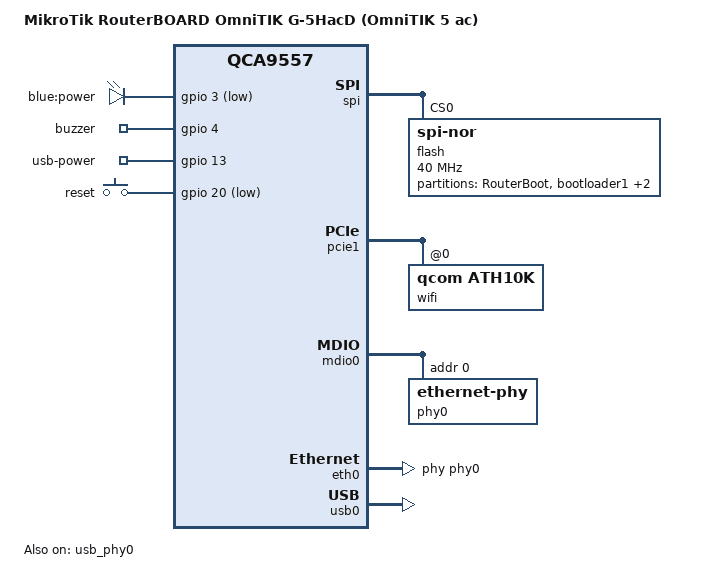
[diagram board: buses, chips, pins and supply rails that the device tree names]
// SPDX-License-Identifier: GPL-2.0-or-later OR MIT

#include "qca955x.dtsi"

#include <dt-bindings/gpio/gpio.h>
#include <dt-bindings/input/input.h>

/ {
	compatible = "mikrotik,routerboard-omnitik-g-5hacd", "qca,qca9557";
	model = "MikroTik RouterBOARD OmniTIK G-5HacD (OmniTIK 5 ac)";

	aliases {
		led-boot = &led_power;
		led-failsafe = &led_power;
		led-upgrade = &led_power;
		serial0 = &uart;
	};

	leds {
		compatible = "gpio-leds";

		led_power: power {
			label = "blue:power";
			gpios = <&gpio 3 GPIO_ACTIVE_LOW>;
			default-state = "on";
		};
	};

	gpio-export {
		compatible = "gpio-export";

		buzzer {
				gpio-export,name = "buzzer";
				gpio-export,output = <0>;
				gpios = <&gpio 4 GPIO_ACTIVE_HIGH>;
		};

		usb_power {
			gpio-export,name = "usb-power";
			gpio-export,output = <1>;
			gpios = <&gpio 13 GPIO_ACTIVE_HIGH>;
		};
	};

	keys {
		compatible = "gpio-keys";

		reset {
			label = "reset";
			linux,code = <KEY_RESTART>;
			gpios = <&gpio 20 GPIO_ACTIVE_LOW>;
			debounce-interval = <60>;
		};
	};
};
	
&spi {
	status = "okay";

	flash@0 {
		compatible = "jedec,spi-nor";
		reg = <0>;
		spi-max-frequency = <40000000>;

		partitions {
			compatible = "fixed-partitions";
			#address-cells = <1>;
			#size-cells = <1>;

			partition@0 {
				label = "RouterBoot";
				reg = <0x0 0x20000>;
				compatible = "mikrotik,routerboot-partitions";
				#address-cells = <1>;
				#size-cells = <1>;

				partition@0 {
					label = "bootloader1";
					reg = <0x0 0x0>;
					read-only;
				};

				hard_config {
					read-only;
				};

				bios {
					size = <0x1000>;
					read-only;
				};

				partition@10000 {
					label = "bootloader2";
					reg = <0x10000 0x0>;
					read-only;
				};

				soft_config {
				};
			};

			partition@20000 {
				compatible = "mikrotik,minor";
				label = "firmware";
				reg = <0x020000 0xfe0000>;
			};
		};
	};
};

&pcie1 {
	status = "okay";

	wifi@0,0 {
		compatible = "qcom,ath10k";
		reg = <0 0 0 0 0>;
	};
};

&mdio0 {
	status = "okay";

	phy0: ethernet-phy@0 {
		reg = <0>;

		qca,ar8327-initvals = <
			/* PAD0_MODE from vendor firmware
			 * RGMII_EN, TX/RXCLK_DELAY_EN, TXCLK_DELAY_SEL=1
			 * as in RB960x
			 */
			0x04 0x07400000 /* PAD0_MODE */
			0x7c 0x0000007e /* PORT0_STATUS */
			>;
	};
};

&eth0 {
	status = "okay";

	phy-handle = <&phy0>;
	/* gigabit pll-data from vendor firmware
	 * TX_INVERT, TX_DELAY=3, GIGE, OFFSET_PHASE
	 * as in RB960x
	 */
	pll-data = <0x8f000000 0x00000101 0x00001616>;

	gmac-config {
		device = <&gmac>;
		rgmii-enabled = <1>;
	};
};

&wmac {
	status = "disabled";
};

&usb0 {
	status = "okay";
};

&usb_phy0 {
	status = "okay";
};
